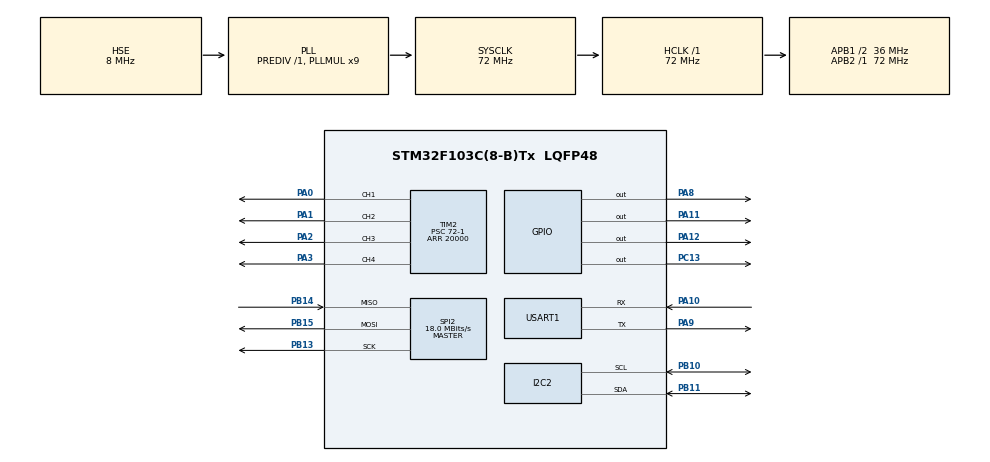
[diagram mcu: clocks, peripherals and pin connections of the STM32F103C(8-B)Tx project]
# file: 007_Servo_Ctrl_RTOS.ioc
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FREERTOS.Queues01=UART2PWM,16,uint16_t,0,Dynamic,NULL,NULL
FREERTOS.Tasks01=defaultTask,0,128,StartDefaultTask,Default,NULL,Dynamic,NULL,NULL;UART_Task,0,128,Start_UART_Task,Default,NULL,Dynamic,NULL,NULL;Servo_Task,2,128,Start_Servo_Task,Default,NULL,Dynamic,NULL,NULL
Mcu.Family=STM32F1
Mcu.Name=STM32F103C(8-B)Tx
Mcu.Package=LQFP48
NVIC.PriorityGroup=NVIC_PRIORITYGROUP_4
NVIC.TIM1_UP_IRQn=true\:15\:0\:false\:false\:true\:false\:false\:true\:true
NVIC.TimeBase=TIM1_UP_IRQn
NVIC.TimeBaseIP=TIM1
NVIC.USART1_IRQn=true\:5\:0\:false\:false\:true\:true\:true\:true\:true
PA0-WKUP.Signal=S_TIM2_CH1_ETR
PA1.Signal=S_TIM2_CH2
PA10.Mode=Asynchronous
PA10.Signal=USART1_RX
PA11.Signal=GPIO_Output
PA12.Signal=GPIO_Output
PA13.Mode=Serial_Wire
PA13.Signal=SYS_JTMS-SWDIO
PA14.Mode=Serial_Wire
PA14.Signal=SYS_JTCK-SWCLK
PA2.Signal=S_TIM2_CH3
PA3.Signal=S_TIM2_CH4
PA8.Signal=GPIO_Output
PA9.Mode=Asynchronous
PA9.Signal=USART1_TX
PB10.Mode=I2C
PB10.Signal=I2C2_SCL
PB11.Mode=I2C
PB11.Signal=I2C2_SDA
PB13.Mode=Full_Duplex_Master
PB13.Signal=SPI2_SCK
PB14.Mode=Full_Duplex_Master
PB14.Signal=SPI2_MISO
PB15.Mode=Full_Duplex_Master
PB15.Signal=SPI2_MOSI
PC13-TAMPER-RTC.Signal=GPIO_Output
PD0-OSC_IN.Mode=HSE-External-Oscillator
PD0-OSC_IN.Signal=RCC_OSC_IN
PD1-OSC_OUT.Mode=HSE-External-Oscillator
PD1-OSC_OUT.Signal=RCC_OSC_OUT
ProjectManager.HeapSize=0x200
ProjectManager.StackSize=0x400
ProjectManager.TargetToolchain=MDK-ARM V5.32
RCC.AHBFreq_Value=72000000
RCC.APB1CLKDivider=RCC_HCLK_DIV2
RCC.APB1Freq_Value=36000000
RCC.APB1TimFreq_Value=72000000
RCC.APB2Freq_Value=72000000
RCC.APB2TimFreq_Value=72000000
RCC.HCLKFreq_Value=72000000
RCC.PLLMUL=RCC_PLL_MUL9
RCC.PLLSourceVirtual=RCC_PLLSOURCE_HSE
RCC.SYSCLKFreq_VALUE=72000000
RCC.SYSCLKSource=RCC_SYSCLKSOURCE_PLLCLK
RCC.USBFreq_Value=72000000
SH.S_TIM2_CH1_ETR.0=TIM2_CH1,PWM Generation1 CH1
SH.S_TIM2_CH2.0=TIM2_CH2,PWM Generation2 CH2
SH.S_TIM2_CH3.0=TIM2_CH3,PWM Generation3 CH3
SH.S_TIM2_CH4.0=TIM2_CH4,PWM Generation4 CH4
SPI2.CalculateBaudRate=18.0 MBits/s
SPI2.Direction=SPI_DIRECTION_2LINES
SPI2.Mode=SPI_MODE_MASTER
SPI2.VirtualType=VM_MASTER
TIM2.Channel-PWM\ Generation1\ CH1=TIM_CHANNEL_1
TIM2.Channel-PWM\ Generation2\ CH2=TIM_CHANNEL_2
TIM2.Channel-PWM\ Generation3\ CH3=TIM_CHANNEL_3
TIM2.Channel-PWM\ Generation4\ CH4=TIM_CHANNEL_4
TIM2.Period=20000
TIM2.Prescaler=72-1
USART1.VirtualMode=VM_ASYNC
VP_FREERTOS_VS_CMSIS_V1.Mode=CMSIS_V1
VP_SYS_VS_tim1.Mode=TIM1
board=custom

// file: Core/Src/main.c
/* USER CODE BEGIN Header */
/**
  ******************************************************************************
  * @file           : main.c
  * @brief          : Main program body
  ******************************************************************************
  * @attention
  *
  * Copyright (c) 2023 STMicroelectronics.
  * All rights reserved.
  *
  * This software is licensed under terms that can be found in the LICENSE file
  * in the root directory of this software component.
  * If no LICENSE file comes with this software, it is provided AS-IS.
  *
  ******************************************************************************
  */
/* USER CODE END Header */
#include "main.h"
#include "cmsis_os.h"
#include "i2c.h"
#include "spi.h"
#include "tim.h"
#include "usart.h"
#include "gpio.h"

/* USER CODE BEGIN Includes */
#include <servo.h>
#include <nrf24l01.h>
#include "mpu6050.h"

/* USER CODE END Includes */

void SystemClock_Config(void);
void MX_FREERTOS_Init(void);

/* USER CODE BEGIN 0 */
uint8_t servos[14];
/* USER CODE END 0 */

int main(void)
{

  /* MCU Configuration--------------------------------------------------------*/

  /* Reset of all peripherals, Initializes the Flash interface and the Systick. */
  HAL_Init();

  /* Configure the system clock */
  SystemClock_Config();

  /* Initialize all configured peripherals */
  MX_GPIO_Init();
  MX_TIM2_Init();
  MX_USART1_UART_Init();
  MX_SPI2_Init();
  MX_I2C2_Init();
  /* USER CODE BEGIN 2 */
	Servo_init();

	NRF24L01_Init();

	NRF24L01_TX_Mode();

		while(MPU_Init())
	{
	}

	HAL_TIM_PWM_Start (&htim2,TIM_CHANNEL_1);
	HAL_TIM_PWM_Start (&htim2,TIM_CHANNEL_2);
	HAL_TIM_PWM_Start (&htim2,TIM_CHANNEL_3);
	HAL_TIM_PWM_Start (&htim2,TIM_CHANNEL_4);

	HAL_UART_Receive_IT(&huart1, servos,14);
  /* USER CODE END 2 */

  /* Call init function for freertos objects (in freertos.c) */
  MX_FREERTOS_Init();

  /* Start scheduler */
  osKernelStart();
  /* We should never get here as control is now taken by the scheduler */
  /* Infinite loop */
  while (1)
  {

  }
}

void SystemClock_Config(void)
{
  RCC_OscInitTypeDef RCC_OscInitStruct = {0};
  RCC_ClkInitTypeDef RCC_ClkInitStruct = {0};

  /** Initializes the RCC Oscillators according to the specified parameters
  * in the RCC_OscInitTypeDef structure.
  */
  RCC_OscInitStruct.OscillatorType = RCC_OSCILLATORTYPE_HSE;
  RCC_OscInitStruct.HSEState = RCC_HSE_ON;
  RCC_OscInitStruct.HSEPredivValue = RCC_HSE_PREDIV_DIV1;
  RCC_OscInitStruct.HSIState = RCC_HSI_ON;
  RCC_OscInitStruct.PLL.PLLState = RCC_PLL_ON;
  RCC_OscInitStruct.PLL.PLLSource = RCC_PLLSOURCE_HSE;
  RCC_OscInitStruct.PLL.PLLMUL = RCC_PLL_MUL9;
  if (HAL_RCC_OscConfig(&RCC_OscInitStruct) != HAL_OK)
  {
    Error_Handler();
  }

  /** Initializes the CPU, AHB and APB buses clocks
  */
  RCC_ClkInitStruct.ClockType = RCC_CLOCKTYPE_HCLK|RCC_CLOCKTYPE_SYSCLK
                              |RCC_CLOCKTYPE_PCLK1|RCC_CLOCKTYPE_PCLK2;
  RCC_ClkInitStruct.SYSCLKSource = RCC_SYSCLKSOURCE_PLLCLK;
  RCC_ClkInitStruct.AHBCLKDivider = RCC_SYSCLK_DIV1;
  RCC_ClkInitStruct.APB1CLKDivider = RCC_HCLK_DIV2;
  RCC_ClkInitStruct.APB2CLKDivider = RCC_HCLK_DIV1;

  if (HAL_RCC_ClockConfig(&RCC_ClkInitStruct, FLASH_LATENCY_2) != HAL_OK)
  {
    Error_Handler();
  }
}

void HAL_TIM_PeriodElapsedCallback(TIM_HandleTypeDef *htim)
{
  if (htim->Instance == TIM1) {
    HAL_IncTick();
  }
}

void Error_Handler(void)
{
  __disable_irq();
  while (1)
  {
  }
}

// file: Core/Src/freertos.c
/* USER CODE BEGIN Header */
/**
  ******************************************************************************
  * File Name          : freertos.c
  * Description        : Code for freertos applications
  ******************************************************************************
  * @attention
  *
  * Copyright (c) 2023 STMicroelectronics.
  * All rights reserved.
  *
  * This software is licensed under terms that can be found in the LICENSE file
  * in the root directory of this software component.
  * If no LICENSE file comes with this software, it is provided AS-IS.
  *
  ******************************************************************************
  */
/* USER CODE END Header */

#include "FreeRTOS.h"
#include "task.h"
#include "main.h"
#include "cmsis_os.h"

/* USER CODE BEGIN Includes */
#include "servo.h"
#include "nrf24l01.h"
#include "string.h"
#include "mpu6050.h"

/* USER CODE END Includes */

/* USER CODE BEGIN PD */
void CLAMP(int16_t* const num,int16_t min,int16_t max)
{
	if(*num>max) *num=max;
	if(*num<min) *num=min;
}
/* USER CODE END PD */

/* USER CODE BEGIN PM */
uint8_t tmp_buf[33];

typedef struct{

	uint16_t rocker[3];
	uint8_t button;
	int16_t pitch;
	int16_t yaw;
	uint8_t servos[14];
	uint8_t reserve[8];

}remote_Rx_t ;

remote_Rx_t remote;

/* USER CODE END PM */

/* USER CODE BEGIN Variables */
extern uint8_t servos[14];
/* USER CODE END Variables */
osThreadId defaultTaskHandle;
osThreadId UART_TaskHandle;
osThreadId Servo_TaskHandle;
osMessageQId UART2PWMHandle;

void StartDefaultTask(void const * argument);
void Start_UART_Task(void const * argument);
void Start_Servo_Task(void const * argument);

void MX_FREERTOS_Init(void); /* (MISRA C 2004 rule 8.1) */

/* GetIdleTaskMemory prototype (linked to static allocation support) */
void vApplicationGetIdleTaskMemory( StaticTask_t **ppxIdleTaskTCBBuffer, StackType_t **ppxIdleTaskStackBuffer, uint32_t *pulIdleTaskStackSize );

/* USER CODE BEGIN GET_IDLE_TASK_MEMORY */
static StaticTask_t xIdleTaskTCBBuffer;
static StackType_t xIdleStack[configMINIMAL_STACK_SIZE];

void vApplicationGetIdleTaskMemory( StaticTask_t **ppxIdleTaskTCBBuffer, StackType_t **ppxIdleTaskStackBuffer, uint32_t *pulIdleTaskStackSize )
{
  *ppxIdleTaskTCBBuffer = &xIdleTaskTCBBuffer;
  *ppxIdleTaskStackBuffer = &xIdleStack[0];
  *pulIdleTaskStackSize = configMINIMAL_STACK_SIZE;
  /* place for user code */
}
/* USER CODE END GET_IDLE_TASK_MEMORY */

void MX_FREERTOS_Init(void) {

  /* Create the queue(s) */
  /* definition and creation of UART2PWM */
  osMessageQDef(UART2PWM, 16, uint16_t);
  UART2PWMHandle = osMessageCreate(osMessageQ(UART2PWM), NULL);

  /* Create the thread(s) */
  /* definition and creation of defaultTask */
  osThreadDef(defaultTask, StartDefaultTask, osPriorityNormal, 0, 128);
  defaultTaskHandle = osThreadCreate(osThread(defaultTask), NULL);

  /* definition and creation of UART_Task */
  osThreadDef(UART_Task, Start_UART_Task, osPriorityNormal, 0, 128);
  UART_TaskHandle = osThreadCreate(osThread(UART_Task), NULL);

  /* definition and creation of Servo_Task */
  osThreadDef(Servo_Task, Start_Servo_Task, osPriorityHigh, 0, 128);
  Servo_TaskHandle = osThreadCreate(osThread(Servo_Task), NULL);

}

void StartDefaultTask(void const * argument)
{
  for(;;)
  {
    osDelay(1);
  }
}

void Start_UART_Task(void const * argument)
{
  /* USER CODE BEGIN Start_UART_Task */
  /* Infinite loop */
  for(;;)
  {
		GetMpuData();
		AngleCalculate();

    osDelay(5);
  }
  /* USER CODE END Start_UART_Task */
}

void Start_Servo_Task(void const * argument)
{
  /* USER CODE BEGIN Start_Servo_Task */
	uint8_t origin[14]={0x30,0x90,0x90,0x90,0x90,0x90,0x90,0x90,0x90,0x90,0x90,0x90,0x90,0x31};
	memcpy(remote.servos,origin,14);
  /* Infinite loop */
  for(;;)
  {
		static uint8_t i;
		static int16_t last_yaw;
		int16_t tmp_yaw=0;
		int16_t tmp_pitch=0;
		static float delta_pitch,last_pitch;
		//
		remote.yaw=(int16_t)g_fCarAngle_yaw; //陀螺仪控制串口舵机数据
//		remote.pitch=(int16_t)g_fCarAngle_pitch;
//
//		delta_pitch=(g_fCarAngle_pitch-last_pitch)*3;

//		if(delta_pitch<2&&delta_pitch>-2)
//			delta_pitch=0.01;

		tmp_yaw=(uint8_t)remote.servos[1]+(remote.yaw-last_yaw)*4;
		tmp_pitch=90+(int16_t)(g_fCarAngle_pitch)*3;

		CLAMP(&tmp_yaw,0,180);
		CLAMP(&tmp_pitch,0,180);

		remote.servos[1]=tmp_yaw;
		remote.servos[2]=tmp_pitch;

		last_yaw=remote.yaw;
		//
		memcpy(tmp_buf,&remote,sizeof(tmp_buf));

		if(NRF24L01_TxPacket(tmp_buf)==TX_OK)
    {
      printf("NRF24L01无线模块数据发送成功：\r\n");
			for(i=0;i<33;i++)
				printf("%u ",tmp_buf[i]);
			printf("\r\n"); //串口打印的数据

    }
    else
    {
      printf("NRF24L01无线模块数据发送失败\r\n");
    }
		HAL_GPIO_TogglePin(GPIOC,GPIO_PIN_13);

    osDelay(50);
  }
  /* USER CODE END Start_Servo_Task */
}

/* USER CODE BEGIN Application */

void HAL_UART_RxCpltCallback(UART_HandleTypeDef *huart)//串口接收完成回调函数
{
	if(huart->Instance == USART1)
	{
	  memcpy(remote.servos,servos,14);
		HAL_UART_Receive_IT(&huart1, servos,14);
	}
}

/* USER CODE END Application */
